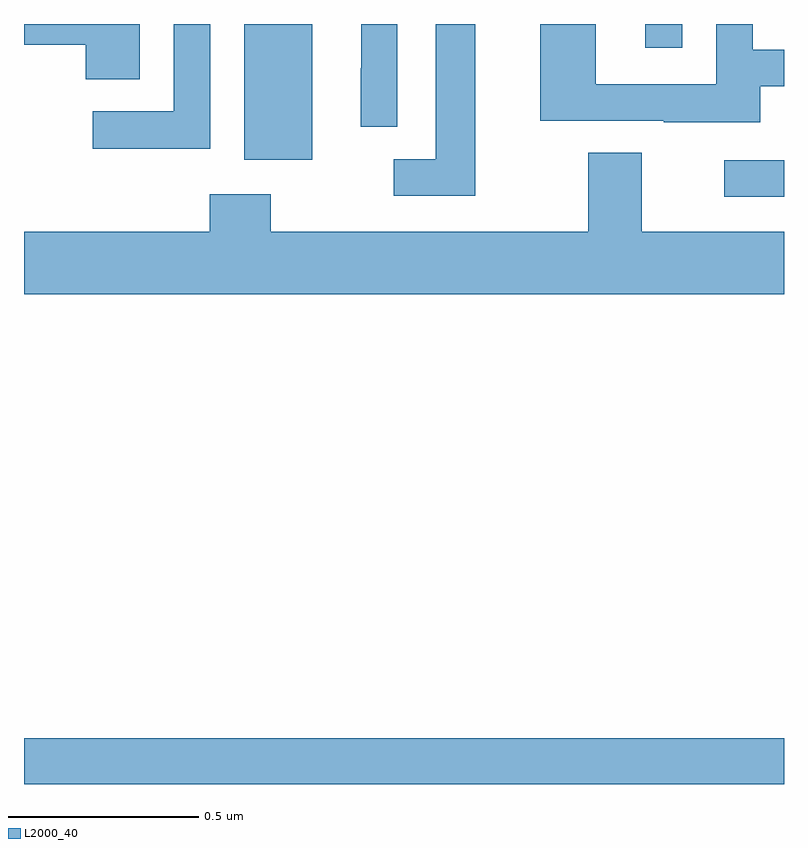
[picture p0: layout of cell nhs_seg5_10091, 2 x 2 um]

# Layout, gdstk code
import gdstk
lib = gdstk.Library(unit=1e-6, precision=1e-09)
def R(c, l, rs):  # rectangles x0, y0, x1, y1
    for r in rs: c.add(gdstk.rectangle(r[:2], r[2:], *l))
def P(c, l, *ps):  # polygons
    for p in ps: c.add(gdstk.Polygon(p, *l))
L2000_40 = (2000, 40)

nhs_seg5_10091 = lib.new_cell('nhs_seg5_10091')
R(nhs_seg5_10091, L2000_40, [(242,860.799,244,860.92), (243.843,862.344,244,862.44), (242.579,862.442,242.758,862.799), (243.635,862.737,243.732,862.799)])
P(nhs_seg5_10091, L2000_40, [(243.937,862.635),(244,862.635),(244,862.731),(243.918,862.731),(243.918,862.799),(243.822,862.799),(243.822,862.641),(243.504,862.641),(243.504,862.799),(243.359,862.799),(243.359,862.545),(243.683,862.545),(243.683,862.541),(243.937,862.541)],
  [(243.187,862.799),(243.083,862.799),(243.083,862.443),(242.973,862.443),(242.973,862.347),(243.187,862.347)],
  [(242.49,862.799),(242.394,862.799),(242.394,862.569),(242.181,862.569),(242.181,862.471),(242.49,862.471)],
  [(242.982,862.799),(242.888,862.799),(242.888,862.682),(242.886,862.682),(242.886,862.528),(242.982,862.528)],
  [(242.305,862.799),(242,862.799),(242,862.745),(242.162,862.745),(242.162,862.654),(242.305,862.654)],
  [(244,862.252),(243.625,862.252),(243.625,862.46),(243.485,862.46),(243.485,862.252),(242.649,862.252),(242.649,862.351),(242.489,862.351),(242.489,862.252),(242,862.252),(242,862.088),(244,862.088)])

lib.write_gds('nhs_seg5_10091.gds')
